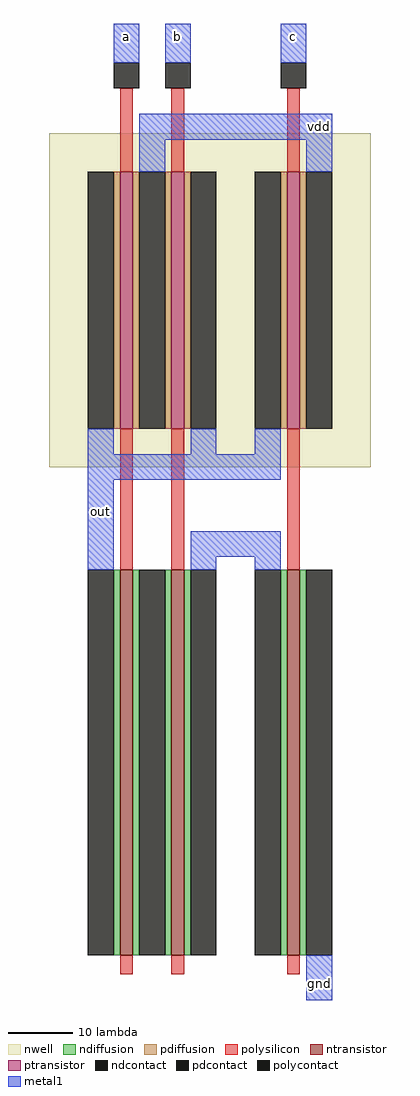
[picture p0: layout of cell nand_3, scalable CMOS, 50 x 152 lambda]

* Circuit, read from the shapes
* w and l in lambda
.subckt nand_3 a b c gnd out vdd
M1 n1 a out VSUBS nfet w=60 l=2
M2 n2 b n1 VSUBS nfet w=60 l=2
M3 gnd c n2 VSUBS nfet w=60 l=2
M4 vdd a out n3 pfet w=40 l=2
M5 out b vdd n3 pfet w=40 l=2
M6 vdd c out n3 pfet w=40 l=2
.ends

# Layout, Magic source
magic
tech scmos
<< nwell >>
rect -11 71 39 123
<< ntransistor >>
rect 0 -5 2 55
rect 8 -5 10 55
rect 26 -5 28 55
<< ptransistor >>
rect 0 77 2 117
rect 8 77 10 117
rect 26 77 28 117
<< ndiffusion >>
rect -1 -5 0 55
rect 2 -5 3 55
rect 7 -5 8 55
rect 10 -5 11 55
rect 25 -5 26 55
rect 28 -5 29 55
<< pdiffusion >>
rect -1 77 0 117
rect 2 77 3 117
rect 7 77 8 117
rect 10 77 11 117
rect 25 77 26 117
rect 28 77 29 117
<< ndcontact >>
rect -5 -5 -1 55
rect 3 -5 7 55
rect 11 -5 15 55
rect 21 -5 25 55
rect 29 -5 33 55
<< pdcontact >>
rect -5 77 -1 117
rect 3 77 7 117
rect 11 77 15 117
rect 21 77 25 117
rect 29 77 33 117
<< polysilicon >>
rect 0 117 2 130
rect 8 117 10 130
rect 26 117 28 130
rect 0 55 2 77
rect 8 55 10 77
rect 26 55 28 77
rect 0 -8 2 -5
rect 8 -8 10 -5
rect 26 -8 28 -5
<< polycontact >>
rect -1 130 3 134
rect 7 130 11 134
rect 25 130 29 134
<< metal1 >>
rect -1 134 3 140
rect 7 134 11 140
rect 25 134 29 140
rect 3 122 33 126
rect 3 117 7 122
rect 29 117 33 122
rect -5 73 -1 77
rect 11 73 15 77
rect 21 73 25 77
rect -5 69 25 73
rect -5 55 -1 69
rect 11 57 25 61
rect 11 55 15 57
rect 21 55 25 57
rect 29 -12 33 -5
<< labels >>
rlabel metal1 7 136 11 140 5 b
rlabel metal1 -1 136 3 140 5 a
rlabel metal1 -5 62 -1 66 1 out
rlabel metal1 29 122 33 126 1 vdd
rlabel metal1 29 -12 33 -7 1 gnd
rlabel metal1 25 136 29 140 5 c
<< end >>
